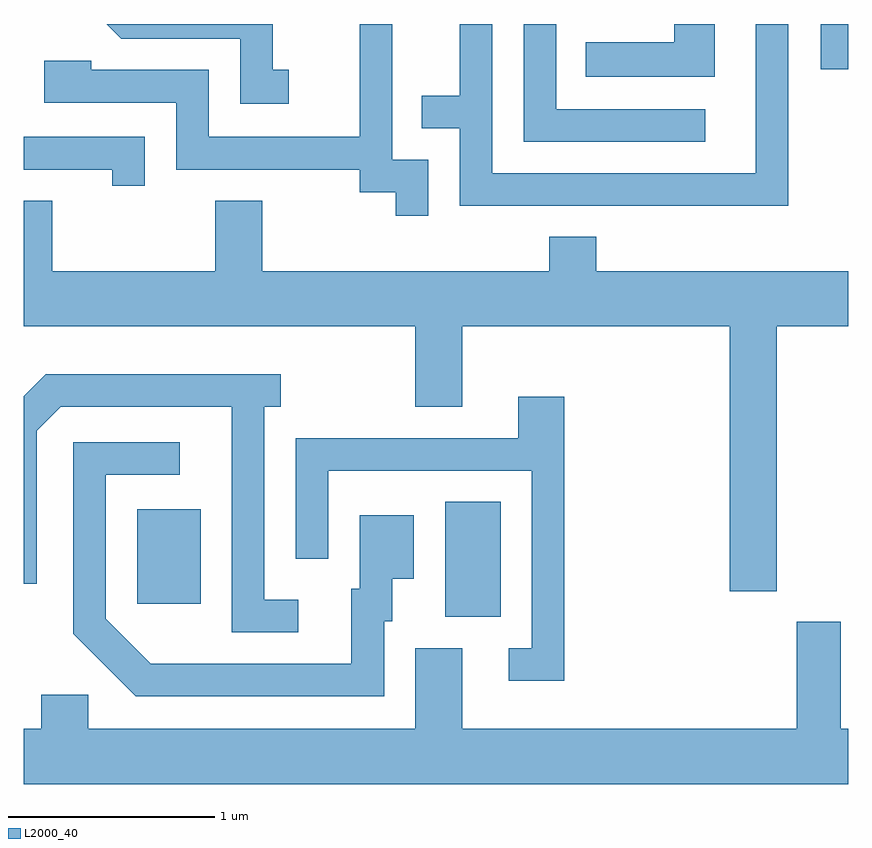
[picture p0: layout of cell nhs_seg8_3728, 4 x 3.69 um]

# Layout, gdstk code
import gdstk
lib = gdstk.Library(unit=1e-6, precision=1e-09)
def R(c, l, rs):  # rectangles x0, y0, x1, y1
    for r in rs: c.add(gdstk.rectangle(r[:2], r[2:], *l))
def P(c, l, *ps):  # polygons
    for p in ps: c.add(gdstk.Polygon(p, *l))
L2000_40 = (2000, 40)

nhs_seg8_3728 = lib.new_cell('nhs_seg8_3728')
R(nhs_seg8_3728, L2000_40, [(299.656,1819.466,299.924,1820.024), (298.161,1819.531,298.469,1819.989), (301.476,1822.123,301.611,1822.342)])
P(nhs_seg8_3728, L2000_40, [(300.964,1822.342),(300.766,1822.342),(300.766,1822.254),(300.338,1822.254),(300.338,1822.086),(300.964,1822.086)],
  [(299.574,1821.684),(299.399,1821.684),(299.399,1822.342),(299.241,1822.342),(299.241,1821.794),(298.509,1821.794),(298.509,1822.119),(297.939,1822.119),(297.939,1822.164),(297.711,1822.164),(297.711,1821.961),(298.351,1821.961),(298.351,1821.636),(299.241,1821.636),(299.241,1821.526),(299.416,1821.526),(299.416,1821.413),(299.574,1821.413)],
  [(300.918,1821.929),(300.194,1821.929),(300.194,1822.342),(300.036,1822.342),(300.036,1821.771),(300.918,1821.771)],
  [(298.898,1822.119),(298.819,1822.119),(298.819,1822.342),(298.013,1822.342),(298.084,1822.271),(298.661,1822.271),(298.661,1821.956),(298.898,1821.956)],
  [(301.319,1822.342),(301.161,1822.342),(301.161,1821.619),(299.884,1821.619),(299.884,1822.342),(299.726,1822.342),(299.726,1821.994),(299.543,1821.994),(299.543,1821.836),(299.726,1821.836),(299.726,1821.461),(301.319,1821.461)],
  [(298.199,1821.794),(297.611,1821.794),(297.611,1821.636),(298.041,1821.636),(298.041,1821.558),(298.199,1821.558)],
  [(301.264,1820.876),(301.611,1820.876),(301.611,1821.144),(300.389,1821.144),(300.389,1821.309),(300.161,1821.309),(300.161,1821.144),(298.769,1821.144),(298.769,1821.484),(298.541,1821.484),(298.541,1821.144),(297.749,1821.144),(297.749,1821.484),(297.611,1821.484),(297.611,1820.876),(299.511,1820.876),(299.511,1820.486),(299.739,1820.486),(299.739,1820.876),(301.036,1820.876),(301.036,1819.591),(301.264,1819.591)],
  [(298.943,1819.549),(298.779,1819.549),(298.779,1820.486),(298.858,1820.486),(298.858,1820.644),(297.719,1820.644),(297.611,1820.537),(297.611,1819.628),(297.674,1819.628),(297.674,1820.369),(297.792,1820.486),(298.621,1820.486),(298.621,1819.391),(298.943,1819.391)],
  [(300.234,1820.534),(300.011,1820.534),(300.011,1820.334),(298.931,1820.334),(298.931,1819.748),(299.089,1819.748),(299.089,1820.176),(300.076,1820.176),(300.076,1819.314),(299.963,1819.314),(299.963,1819.156),(300.234,1819.156)],
  [(299.359,1819.446),(299.399,1819.446),(299.399,1819.651),(299.504,1819.651),(299.504,1819.959),(299.241,1819.959),(299.241,1819.604),(299.201,1819.604),(299.201,1819.239),(298.227,1819.239),(298.009,1819.457),(298.009,1820.156),(298.368,1820.156),(298.368,1820.314),(297.851,1820.314),(297.851,1819.384),(298.154,1819.081),(299.359,1819.081)],
  [(301.361,1819.444),(301.361,1818.924),(299.739,1818.924),(299.739,1819.314),(299.511,1819.314),(299.511,1818.924),(297.924,1818.924),(297.924,1819.089),(297.696,1819.089),(297.696,1818.924),(297.611,1818.924),(297.611,1818.656),(301.611,1818.656),(301.611,1818.924),(301.574,1818.924),(301.574,1819.444)])

lib.write_gds('nhs_seg8_3728.gds')
